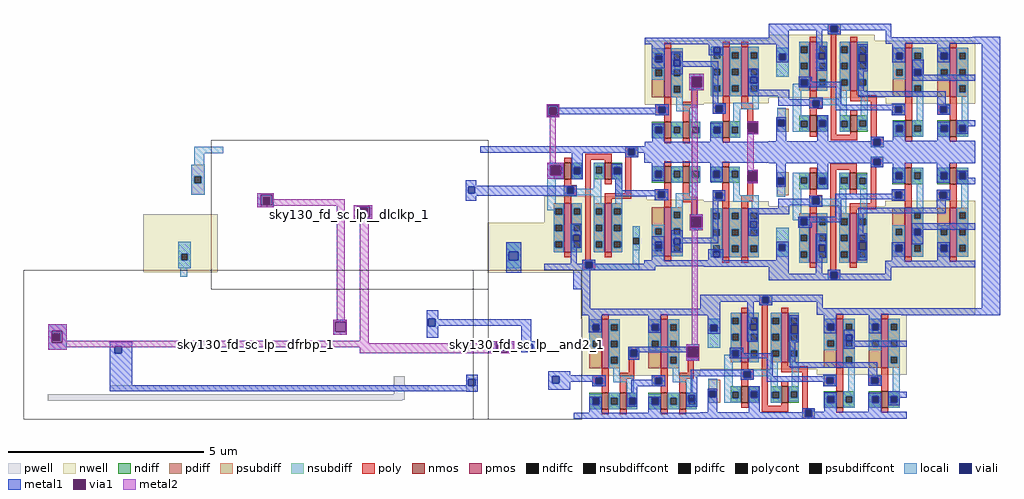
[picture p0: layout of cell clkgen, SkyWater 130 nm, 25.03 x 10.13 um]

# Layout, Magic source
magic
tech sky130A
magscale 1 2
<< nwell >>
rect -1618 -366 -1236 -68
rect 149 -243 954 -113
rect 149 -288 956 -243
rect -1428 -390 -1394 -366
rect 149 -369 2647 -288
rect 626 -585 2647 -369
rect 626 -605 956 -585
<< pwell >>
rect -333 -944 -278 -898
rect -1790 -976 -156 -944
rect -333 -992 -278 -976
rect 39 -979 98 -891
rect -2109 -1020 -278 -992
rect -2109 -1024 -290 -1020
<< psubdiff >>
rect -1372 126 -1302 186
rect -1372 90 -1356 126
rect -1322 90 -1302 126
rect -1372 32 -1302 90
<< nsubdiff >>
rect -1438 -270 -1374 -210
rect -1438 -304 -1424 -270
rect -1390 -304 -1374 -270
rect -1438 -346 -1374 -304
rect 242 -344 319 -213
<< psubdiffcont >>
rect -1356 90 -1322 126
<< nsubdiffcont >>
rect -1424 -304 -1390 -270
<< locali >>
rect 455 479 509 491
rect 455 445 466 479
rect 500 445 509 479
rect 455 433 509 445
rect -1356 245 -1207 279
rect -1356 186 -1306 245
rect -1372 126 -1302 186
rect -1372 90 -1356 126
rect -1322 90 -1302 126
rect -1372 32 -1302 90
rect -1438 -270 -1374 -210
rect -1438 -304 -1424 -270
rect -1390 -304 -1374 -270
rect -1438 -346 -1374 -304
rect 242 -261 319 -213
rect 242 -304 256 -261
rect 305 -304 319 -261
rect 242 -344 319 -304
rect -1428 -390 -1394 -346
<< viali >>
rect 466 445 500 479
rect 476 137 511 174
rect 795 138 829 172
rect 47 39 82 73
rect 555 36 589 70
rect -1003 -15 -969 20
rect -509 -72 -468 -38
rect 256 -304 305 -261
rect -156 -642 -121 -605
rect -2080 -717 -2043 -681
rect -1764 -780 -1728 -745
rect 199 -768 238 -732
rect 345 -770 379 -736
rect 48 -949 83 -915
rect 480 -935 515 -900
<< metal1 >>
rect 2635 842 2773 843
rect 2635 807 2775 842
rect 1182 636 1256 652
rect 1182 582 1194 636
rect 1246 582 1256 636
rect 1182 568 1256 582
rect 451 491 515 497
rect 451 438 457 491
rect 509 477 515 491
rect 509 445 989 477
rect 509 438 515 445
rect 451 428 515 438
rect 110 246 493 280
rect 951 276 983 280
rect 951 226 2648 276
rect 453 184 539 197
rect 951 196 983 226
rect 453 131 469 184
rect 522 131 539 184
rect 453 113 539 131
rect 784 172 838 191
rect 784 138 795 172
rect 829 138 838 172
rect 784 111 838 138
rect 35 79 89 107
rect 35 73 604 79
rect -1033 31 -949 40
rect -1033 -21 -1017 31
rect -958 -21 -949 31
rect 35 39 47 73
rect 82 70 604 73
rect 82 39 555 70
rect 35 36 555 39
rect 589 36 604 70
rect 35 26 604 36
rect 801 55 838 111
rect 35 1 89 26
rect 801 23 971 55
rect -1033 -33 -949 -21
rect -538 -31 -444 -22
rect -538 -84 -520 -31
rect -456 -84 -444 -31
rect -538 -91 -444 -84
rect 1184 -82 1250 -68
rect 1184 -136 1190 -82
rect 1244 -136 1250 -82
rect 1184 -150 1250 -136
rect 242 -261 319 -213
rect 242 -304 256 -261
rect 305 -304 319 -261
rect 242 -369 319 -304
rect 586 -453 675 -355
rect 952 -356 1008 -306
rect -164 -605 -106 -560
rect 630 -586 675 -453
rect 2682 -550 2775 807
rect 2268 -585 2775 -550
rect -644 -620 -576 -609
rect -2106 -666 -2012 -632
rect -2106 -728 -2088 -666
rect -2033 -728 -2012 -666
rect -644 -672 -635 -620
rect -581 -672 -576 -620
rect -644 -687 -576 -672
rect -164 -642 -156 -605
rect -121 -606 -106 -605
rect -121 -640 371 -606
rect -121 -642 -106 -640
rect -164 -701 -106 -642
rect 320 -719 371 -640
rect 154 -722 283 -719
rect -2106 -762 -2012 -728
rect -1790 -745 -1675 -723
rect -1790 -780 -1764 -745
rect -1728 -780 -1675 -745
rect -1790 -944 -1675 -780
rect 154 -778 193 -722
rect 248 -778 283 -722
rect 320 -736 399 -719
rect 320 -770 345 -736
rect 379 -770 399 -736
rect 320 -777 399 -770
rect 1166 -748 1234 -734
rect 154 -782 283 -778
rect 1166 -802 1172 -748
rect 1230 -802 1234 -748
rect 1166 -820 1234 -802
rect 39 -915 98 -891
rect -1790 -945 -156 -944
rect 39 -945 48 -915
rect -1790 -949 48 -945
rect 83 -949 98 -915
rect -1790 -976 98 -949
rect 459 -894 572 -873
rect 459 -900 626 -894
rect 459 -935 480 -900
rect 515 -926 626 -900
rect 515 -935 572 -926
rect 459 -969 572 -935
rect 39 -979 98 -976
rect 588 -1118 686 -1085
<< via1 >>
rect 1194 582 1246 636
rect 457 479 509 491
rect 457 445 466 479
rect 466 445 500 479
rect 500 445 509 479
rect 457 438 509 445
rect 469 174 522 184
rect 469 137 476 174
rect 476 137 511 174
rect 511 137 522 174
rect 469 131 522 137
rect -1017 20 -958 31
rect -1017 -15 -1003 20
rect -1003 -15 -969 20
rect -969 -15 -958 20
rect -1017 -21 -958 -15
rect -520 -38 -456 -31
rect -520 -72 -509 -38
rect -509 -72 -468 -38
rect -468 -72 -456 -38
rect -520 -84 -456 -72
rect 1190 -136 1244 -82
rect -2088 -681 -2033 -666
rect -2088 -717 -2080 -681
rect -2080 -717 -2043 -681
rect -2043 -717 -2033 -681
rect -2088 -728 -2033 -717
rect -635 -672 -581 -620
rect 193 -732 248 -722
rect 193 -768 199 -732
rect 199 -768 238 -732
rect 238 -768 248 -732
rect 193 -778 248 -768
rect 1172 -802 1230 -748
<< metal2 >>
rect 1182 636 1256 652
rect 1182 582 1194 636
rect 1246 582 1256 636
rect 1182 568 1256 582
rect 451 491 515 497
rect 451 438 457 491
rect 509 438 515 491
rect 451 428 515 438
rect 466 197 498 428
rect 453 184 539 197
rect 453 131 469 184
rect 522 131 539 184
rect 453 113 539 131
rect -1033 31 -949 40
rect -1033 -21 -1017 31
rect -958 9 -949 31
rect -958 -21 -584 9
rect -1033 -25 -584 -21
rect -1033 -33 -949 -25
rect -627 -609 -584 -25
rect -538 -31 -444 -22
rect -538 -84 -520 -31
rect -456 -84 -444 -31
rect 1194 -68 1226 568
rect 1480 152 1512 350
rect -538 -91 -444 -84
rect 1184 -82 1250 -68
rect -644 -620 -576 -609
rect -2106 -666 -2012 -632
rect -2106 -728 -2088 -666
rect -2033 -716 -2012 -666
rect -644 -672 -635 -620
rect -581 -672 -576 -620
rect -644 -687 -576 -672
rect -507 -716 -461 -91
rect 1184 -136 1190 -82
rect 1244 -136 1250 -82
rect 1184 -150 1250 -136
rect -2033 -728 -461 -716
rect -2106 -729 -461 -728
rect 154 -722 283 -719
rect 154 -729 193 -722
rect -2106 -751 193 -729
rect -2106 -762 -2012 -751
rect -507 -778 193 -751
rect 248 -778 283 -722
rect 1194 -734 1226 -150
rect -507 -780 283 -778
rect 154 -782 283 -780
rect 1166 -748 1234 -734
rect 1166 -802 1172 -748
rect 1230 -802 1234 -748
rect 1166 -820 1234 -802
use comp_clks_1stage  comp_clks_1stage_0
transform 1 0 -107 0 -1 814
box 546 534 1070 1170
use sky130_fd_sc_lp__and2_1  sky130_fd_sc_lp__and2_1_0 ~/sky130A/libs.ref/sky130_fd_sc_lp/mag
transform 1 0 112 0 1 -1070
box -38 -49 518 715
use sky130_fd_sc_lp__dfrbp_1  sky130_fd_sc_lp__dfrbp_1_0 ~/sky130A/libs.ref/sky130_fd_sc_lp/mag
transform 1 0 -2192 0 1 -1070
box -38 -49 2342 715
use sky130_fd_sc_lp__dlclkp_1  sky130_fd_sc_lp__dlclkp_1_0 ~/sky130A/libs.ref/sky130_fd_sc_lp/mag
transform 1 0 -1232 0 -1 262
box -38 -49 1382 715
use PDPUcomp  PDPUcomp_0
transform 1 0 975 0 -1 221
box -24 -7 1672 629
use PDPUcomp  PDPUcomp_1
transform 1 0 976 0 1 279
box -24 -7 1672 629
use PDPDcomp  PDPDcomp_0
transform 1 0 623 0 1 -1115
box -30 -3 1673 634
<< end >>

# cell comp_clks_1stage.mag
magic
tech sky130A
magscale 1 2
<< nwell >>
rect 546 790 1070 1145
<< nmos >>
rect 648 618 684 702
rect 854 618 890 702
<< pmos >>
rect 648 826 684 1078
rect 854 826 890 1078
<< ndiff >>
rect 594 674 648 702
rect 594 640 602 674
rect 636 640 648 674
rect 594 618 648 640
rect 684 676 738 702
rect 684 642 696 676
rect 730 642 738 676
rect 684 618 738 642
rect 800 674 854 702
rect 800 640 808 674
rect 842 640 854 674
rect 800 618 854 640
rect 890 676 944 702
rect 890 642 902 676
rect 936 642 944 676
rect 890 618 944 642
<< pdiff >>
rect 594 1054 648 1078
rect 594 1020 602 1054
rect 636 1020 648 1054
rect 594 970 648 1020
rect 594 936 602 970
rect 636 936 648 970
rect 594 886 648 936
rect 594 852 602 886
rect 636 852 648 886
rect 594 826 648 852
rect 684 1054 738 1078
rect 684 1020 696 1054
rect 730 1020 738 1054
rect 684 970 738 1020
rect 684 936 696 970
rect 730 936 738 970
rect 684 886 738 936
rect 684 852 696 886
rect 730 852 738 886
rect 684 826 738 852
rect 800 1054 854 1078
rect 800 1020 808 1054
rect 842 1020 854 1054
rect 800 970 854 1020
rect 800 936 808 970
rect 842 936 854 970
rect 800 886 854 936
rect 800 852 808 886
rect 842 852 854 886
rect 800 826 854 852
rect 890 1054 944 1078
rect 890 1020 902 1054
rect 936 1020 944 1054
rect 890 970 944 1020
rect 890 936 902 970
rect 936 936 944 970
rect 890 886 944 936
rect 890 852 902 886
rect 936 852 944 886
rect 890 826 944 852
<< ndiffc >>
rect 602 640 636 674
rect 696 642 730 676
rect 808 640 842 674
rect 902 642 936 676
<< pdiffc >>
rect 602 1020 636 1054
rect 602 936 636 970
rect 602 852 636 886
rect 696 1020 730 1054
rect 696 936 730 970
rect 696 852 730 886
rect 808 1020 842 1054
rect 808 936 842 970
rect 808 852 842 886
rect 902 1020 936 1054
rect 902 936 936 970
rect 902 852 936 886
<< nsubdiff >>
rect 998 1037 1034 1066
rect 998 1003 999 1037
rect 1033 1003 1034 1037
rect 998 944 1034 1003
<< nsubdiffcont >>
rect 999 1003 1033 1037
<< poly >>
rect 740 1160 806 1170
rect 740 1126 756 1160
rect 790 1126 806 1160
rect 740 1116 806 1126
rect 648 1078 684 1104
rect 648 790 684 826
rect 646 778 712 790
rect 646 744 662 778
rect 696 744 712 778
rect 646 734 712 744
rect 648 702 684 734
rect 648 592 684 618
rect 754 602 784 1116
rect 854 1078 890 1104
rect 854 804 890 826
rect 854 774 990 804
rect 854 702 890 728
rect 854 602 890 618
rect 754 572 890 602
rect 960 590 990 774
rect 960 580 1026 590
rect 960 546 976 580
rect 1010 546 1026 580
rect 960 536 1026 546
<< polycont >>
rect 756 1126 790 1160
rect 662 744 696 778
rect 976 546 1010 580
<< locali >>
rect 740 1160 1033 1170
rect 740 1126 756 1160
rect 790 1135 1033 1160
rect 790 1126 806 1135
rect 740 1116 806 1126
rect 594 1054 646 1078
rect 594 1020 602 1054
rect 636 1020 646 1054
rect 594 970 646 1020
rect 594 936 602 970
rect 636 936 646 970
rect 594 886 646 936
rect 594 862 602 886
rect 560 852 602 862
rect 636 852 646 886
rect 560 826 646 852
rect 686 1054 738 1078
rect 686 1022 696 1054
rect 686 988 694 1022
rect 730 1020 738 1054
rect 728 988 738 1020
rect 686 970 738 988
rect 686 936 696 970
rect 730 936 738 970
rect 686 886 738 936
rect 686 852 696 886
rect 730 852 738 886
rect 686 826 738 852
rect 800 1054 852 1078
rect 800 1020 808 1054
rect 842 1020 852 1054
rect 800 970 852 1020
rect 800 936 808 970
rect 842 936 852 970
rect 800 886 852 936
rect 800 852 808 886
rect 842 852 852 886
rect 800 826 852 852
rect 892 1054 944 1078
rect 892 1020 902 1054
rect 936 1020 944 1054
rect 892 970 944 1020
rect 892 936 902 970
rect 936 936 944 970
rect 998 1067 1033 1135
rect 998 1037 1034 1067
rect 998 1003 999 1037
rect 1033 1003 1034 1037
rect 998 944 1034 1003
rect 892 886 944 936
rect 892 852 902 886
rect 936 852 944 886
rect 892 826 944 852
rect 560 702 604 826
rect 646 786 712 790
rect 800 786 836 826
rect 646 778 836 786
rect 646 744 662 778
rect 696 752 836 778
rect 696 744 712 752
rect 646 736 712 744
rect 800 702 836 752
rect 908 702 944 826
rect 560 674 646 702
rect 560 640 602 674
rect 636 640 646 674
rect 560 618 646 640
rect 686 676 738 702
rect 686 642 696 676
rect 730 642 738 676
rect 686 618 738 642
rect 800 674 852 702
rect 800 640 808 674
rect 842 640 852 674
rect 800 618 852 640
rect 892 676 944 702
rect 892 642 902 676
rect 936 642 944 676
rect 892 626 944 642
rect 960 580 1026 590
rect 960 546 976 580
rect 1010 546 1026 580
rect 960 536 1026 546
<< viali >>
rect 756 1126 790 1160
rect 694 1020 696 1022
rect 696 1020 728 1022
rect 694 988 728 1020
rect 696 642 730 676
rect 976 546 1010 580
<< metal1 >>
rect 546 1160 1062 1170
rect 546 1136 756 1160
rect 680 1054 712 1136
rect 740 1126 756 1136
rect 790 1136 1062 1160
rect 790 1126 806 1136
rect 740 1116 806 1126
rect 680 1022 734 1054
rect 680 988 694 1022
rect 728 988 734 1022
rect 680 930 734 988
rect 686 676 742 702
rect 686 642 696 676
rect 730 642 742 676
rect 686 568 742 642
rect 960 580 1026 590
rect 960 568 976 580
rect 546 546 976 568
rect 1010 568 1026 580
rect 1010 546 1062 568
rect 546 534 1062 546
<< end >>

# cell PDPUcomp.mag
magic
tech sky130A
magscale 1 2
<< nwell >>
rect 330 507 364 510
rect 330 476 364 484
rect 330 449 364 472
rect 172 410 354 438
<< pdiff >>
rect 330 507 364 510
rect 330 476 364 484
rect 330 449 364 472
<< locali >>
rect 330 449 364 472
<< viali >>
rect 330 476 364 510
rect 32 431 66 466
rect 126 412 160 446
rect 1360 363 1394 397
rect 226 313 260 347
rect 519 324 553 358
rect 48 171 82 205
rect 342 177 376 211
rect 838 203 872 237
rect 32 67 66 101
rect 330 67 364 101
rect 514 79 548 113
rect 1590 75 1624 109
<< metal1 >>
rect 316 542 374 551
rect 14 466 79 538
rect 316 537 380 542
rect 305 510 380 537
rect 613 525 654 629
rect 14 431 32 466
rect 66 431 79 466
rect 14 402 79 431
rect 114 446 172 485
rect 305 476 330 510
rect 364 476 380 510
rect 305 468 380 476
rect 114 412 126 446
rect 160 438 172 446
rect 160 412 354 438
rect 114 410 354 412
rect 114 371 172 410
rect 216 347 270 363
rect 216 313 226 347
rect 260 313 270 347
rect 216 297 270 313
rect 326 221 354 410
rect 509 358 562 400
rect 509 324 519 358
rect 553 324 562 358
rect 1348 397 1407 444
rect 1348 363 1360 397
rect 1394 368 1407 397
rect 1394 363 1672 368
rect 1348 336 1672 363
rect 509 290 562 324
rect 509 258 719 290
rect 663 242 719 258
rect 822 242 889 250
rect 663 237 889 242
rect 30 205 100 217
rect 30 198 48 205
rect -24 171 48 198
rect 82 171 100 205
rect -24 166 100 171
rect 326 211 392 221
rect 326 177 342 211
rect 376 177 392 211
rect 663 210 838 237
rect 822 203 838 210
rect 872 203 889 237
rect 822 195 889 203
rect 326 167 392 177
rect 30 161 100 166
rect 504 122 558 129
rect 15 101 78 117
rect 15 67 32 101
rect 66 67 78 101
rect 15 9 78 67
rect 314 101 377 122
rect 314 67 330 101
rect 364 67 377 101
rect 314 11 377 67
rect 557 69 558 122
rect 504 63 558 69
rect 1578 109 1672 135
rect 1578 75 1590 109
rect 1624 103 1672 109
rect 1624 75 1636 103
rect 1578 66 1636 75
<< via1 >>
rect 504 113 557 122
rect 504 79 514 113
rect 514 79 548 113
rect 548 79 557 113
rect 504 69 557 79
<< metal2 >>
rect 504 122 559 130
rect 503 69 504 90
rect 557 69 559 122
rect 503 62 559 69
use comp_clks  comp_clks_0
transform 1 0 176 0 1 -541
box 438 534 1496 1170
use inv_weak_pullup  inv_weak_pullup_0
transform 1 0 810 0 1 155
box -530 -162 -182 404
use inv_weak_pulldown  inv_weak_pulldown_0
transform 1 0 98 0 1 71
box -122 -78 182 486
<< labels >>
rlabel metal1 30 185 30 185 7 inp
rlabel metal1 216 310 216 310 7 vnb
rlabel metal1 172 432 172 432 3 out
rlabel metal1 326 190 326 190 7 vinp2
rlabel via1 504 90 504 90 7 vpb
rlabel metal1 1672 118 1672 118 3 clkb
rlabel metal1 1672 352 1672 352 3 clka
<< end >>

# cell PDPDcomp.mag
magic
tech sky130A
magscale 1 2
<< viali >>
rect 63 449 97 483
rect 367 449 401 483
rect 1360 394 1394 429
rect 257 317 291 351
rect 561 317 595 351
rect 79 175 113 209
rect 383 175 417 209
rect 839 207 873 241
rect 63 71 97 105
rect 251 71 285 105
rect 367 71 401 105
rect 553 84 587 118
rect 1591 79 1625 113
<< metal1 >>
rect 44 483 110 556
rect 44 449 63 483
rect 97 449 110 483
rect 44 442 110 449
rect 349 483 413 553
rect 614 530 666 634
rect 349 449 367 483
rect 401 449 413 483
rect 349 439 413 449
rect 1350 429 1406 455
rect 1350 394 1360 429
rect 1394 399 1406 429
rect 1394 394 1673 399
rect 246 351 606 368
rect 1350 367 1673 394
rect 1350 356 1406 367
rect 246 317 257 351
rect 291 339 561 351
rect 291 317 301 339
rect 246 301 301 317
rect 551 317 561 339
rect 595 317 606 351
rect 551 301 606 317
rect 823 248 889 253
rect 567 241 889 248
rect -30 209 131 221
rect -30 189 79 209
rect 61 175 79 189
rect 113 175 131 209
rect 365 209 435 221
rect 365 197 383 209
rect 61 165 131 175
rect 261 175 383 197
rect 417 175 435 209
rect 261 165 435 175
rect 567 216 839 241
rect 261 131 293 165
rect 567 131 599 216
rect 823 207 839 216
rect 873 207 889 241
rect 823 199 889 207
rect 45 105 109 111
rect 45 71 63 105
rect 97 71 109 105
rect 45 22 109 71
rect 239 105 293 131
rect 542 118 599 131
rect 239 71 251 105
rect 285 71 293 105
rect 239 59 293 71
rect 349 105 413 112
rect 349 71 367 105
rect 401 71 413 105
rect 349 23 413 71
rect 542 84 553 118
rect 587 84 599 118
rect 542 60 599 84
rect 1579 137 1638 140
rect 1579 113 1673 137
rect 1579 79 1591 113
rect 1625 105 1673 113
rect 1625 79 1638 105
rect 1579 68 1638 79
use comp_clks  comp_clks_0
transform 1 0 177 0 1 -537
box 438 534 1496 1170
use inv_weak_pulldown  inv_weak_pulldown_1
transform 1 0 433 0 1 75
box -122 -78 182 486
use inv_weak_pulldown  inv_weak_pulldown_0
transform 1 0 129 0 1 75
box -122 -78 182 486
<< labels >>
rlabel metal1 1673 385 1673 385 3 cclk
rlabel metal1 1673 120 1673 120 3 cclkb
rlabel metal1 246 349 246 349 7 vnb
<< end >>

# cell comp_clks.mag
magic
tech sky130A
<< nwell >>
rect 219 542 490 557
rect 219 395 531 542
<< nmos >>
rect 324 309 342 351
rect 427 309 445 351
<< pmos >>
rect 324 413 342 539
rect 427 413 445 539
<< ndiff >>
rect 297 337 324 351
rect 297 320 301 337
rect 318 320 324 337
rect 297 309 324 320
rect 342 338 369 351
rect 342 321 348 338
rect 365 321 369 338
rect 342 309 369 321
rect 400 337 427 351
rect 400 320 404 337
rect 421 320 427 337
rect 400 309 427 320
rect 445 338 472 351
rect 445 321 451 338
rect 468 321 472 338
rect 445 309 472 321
<< pdiff >>
rect 297 527 324 539
rect 297 510 301 527
rect 318 510 324 527
rect 297 485 324 510
rect 297 468 301 485
rect 318 468 324 485
rect 297 443 324 468
rect 297 426 301 443
rect 318 426 324 443
rect 297 413 324 426
rect 342 527 369 539
rect 342 510 348 527
rect 365 510 369 527
rect 342 485 369 510
rect 342 468 348 485
rect 365 468 369 485
rect 342 443 369 468
rect 342 426 348 443
rect 365 426 369 443
rect 342 413 369 426
rect 400 527 427 539
rect 400 510 404 527
rect 421 510 427 527
rect 400 485 427 510
rect 400 468 404 485
rect 421 468 427 485
rect 400 443 427 468
rect 400 426 404 443
rect 421 426 427 443
rect 400 413 427 426
rect 445 527 472 539
rect 445 510 451 527
rect 468 510 472 527
rect 445 485 472 510
rect 445 468 451 485
rect 468 468 472 485
rect 445 443 472 468
rect 445 426 451 443
rect 468 426 472 443
rect 445 413 472 426
<< ndiffc >>
rect 301 320 318 337
rect 348 321 365 338
rect 404 320 421 337
rect 451 321 468 338
<< pdiffc >>
rect 301 510 318 527
rect 301 468 318 485
rect 301 426 318 443
rect 348 510 365 527
rect 348 468 365 485
rect 348 426 365 443
rect 404 510 421 527
rect 404 468 421 485
rect 404 426 421 443
rect 451 510 468 527
rect 451 468 468 485
rect 451 426 468 443
<< psubdiff >>
rect 241 339 270 367
rect 241 322 242 339
rect 259 322 270 339
rect 241 308 270 322
<< nsubdiff >>
rect 238 509 270 524
rect 238 492 245 509
rect 262 492 270 509
rect 238 450 270 492
<< psubdiffcont >>
rect 242 322 259 339
<< nsubdiffcont >>
rect 245 492 262 509
<< poly >>
rect 370 580 403 585
rect 370 563 378 580
rect 395 563 403 580
rect 370 558 403 563
rect 324 539 342 552
rect 324 395 342 413
rect 323 389 356 395
rect 323 372 331 389
rect 348 372 356 389
rect 323 367 356 372
rect 324 351 342 367
rect 324 296 342 309
rect 377 301 392 558
rect 427 539 445 552
rect 427 402 445 413
rect 427 387 495 402
rect 427 351 445 364
rect 427 301 445 309
rect 377 286 445 301
rect 480 295 495 387
rect 480 290 513 295
rect 480 273 488 290
rect 505 273 513 290
rect 480 268 513 273
<< polycont >>
rect 378 563 395 580
rect 331 372 348 389
rect 658 357 675 374
rect 488 273 505 290
<< locali >>
rect 370 580 403 585
rect 370 563 378 580
rect 395 563 403 580
rect 370 558 403 563
rect 297 527 323 539
rect 238 509 270 524
rect 238 492 245 509
rect 262 492 270 509
rect 238 450 270 492
rect 297 510 301 527
rect 318 510 323 527
rect 297 485 323 510
rect 297 468 301 485
rect 318 468 323 485
rect 297 443 323 468
rect 297 431 301 443
rect 280 426 301 431
rect 318 426 323 443
rect 280 413 323 426
rect 343 527 369 539
rect 343 511 348 527
rect 343 494 347 511
rect 365 510 369 527
rect 364 494 369 510
rect 343 485 369 494
rect 343 468 348 485
rect 365 468 369 485
rect 343 443 369 468
rect 343 426 348 443
rect 365 426 369 443
rect 343 413 369 426
rect 400 527 426 539
rect 400 510 404 527
rect 421 510 426 527
rect 400 485 426 510
rect 400 468 404 485
rect 421 468 426 485
rect 400 443 426 468
rect 400 426 404 443
rect 421 426 426 443
rect 400 413 426 426
rect 446 527 472 539
rect 446 510 451 527
rect 468 510 472 527
rect 446 508 472 510
rect 446 486 451 508
rect 469 486 472 508
rect 446 485 472 486
rect 446 468 451 485
rect 468 468 472 485
rect 446 443 472 468
rect 446 426 451 443
rect 468 426 472 443
rect 446 413 472 426
rect 240 339 262 370
rect 240 322 242 339
rect 259 322 262 339
rect 240 308 262 322
rect 280 351 302 413
rect 323 393 356 395
rect 400 393 418 413
rect 323 389 418 393
rect 323 372 331 389
rect 348 376 418 389
rect 348 372 356 376
rect 323 368 356 372
rect 400 351 418 376
rect 454 351 472 413
rect 280 337 323 351
rect 280 320 301 337
rect 318 320 323 337
rect 280 309 323 320
rect 343 338 369 351
rect 343 321 348 338
rect 365 321 369 338
rect 343 309 369 321
rect 400 337 426 351
rect 400 320 404 337
rect 421 320 426 337
rect 400 309 426 320
rect 446 338 472 351
rect 446 321 451 338
rect 468 321 472 338
rect 446 313 472 321
rect 480 290 513 295
rect 480 273 488 290
rect 505 273 513 290
rect 480 268 513 273
<< viali >>
rect 378 563 395 580
rect 245 492 262 509
rect 301 426 318 443
rect 347 510 348 511
rect 348 510 364 511
rect 347 494 364 510
rect 451 486 469 508
rect 545 494 562 511
rect 660 494 677 511
rect 242 322 259 339
rect 543 357 560 374
rect 658 357 675 374
rect 348 321 365 338
rect 545 308 562 325
rect 660 308 677 325
rect 488 273 505 290
<< metal1 >>
rect 219 580 533 585
rect 219 568 378 580
rect 238 509 270 568
rect 238 492 245 509
rect 262 492 270 509
rect 238 486 270 492
rect 340 527 356 568
rect 370 563 378 568
rect 395 568 533 580
rect 395 563 403 568
rect 370 558 403 563
rect 518 534 533 568
rect 340 511 367 527
rect 340 494 347 511
rect 364 494 367 511
rect 340 465 367 494
rect 447 508 472 533
rect 447 486 451 508
rect 469 486 472 508
rect 535 511 568 545
rect 535 494 545 511
rect 562 494 568 511
rect 535 487 568 494
rect 651 511 683 545
rect 651 494 660 511
rect 677 494 683 511
rect 651 487 683 494
rect 447 464 472 486
rect 295 443 329 450
rect 295 426 301 443
rect 318 436 329 443
rect 318 426 405 436
rect 295 422 405 426
rect 390 377 405 422
rect 448 412 462 464
rect 448 398 673 412
rect 534 377 569 380
rect 390 374 569 377
rect 390 363 543 374
rect 534 357 543 363
rect 560 357 569 374
rect 534 351 569 357
rect 650 378 673 398
rect 650 374 684 378
rect 650 357 658 374
rect 675 357 684 374
rect 650 352 684 357
rect 238 339 263 345
rect 238 322 242 339
rect 259 322 263 339
rect 238 284 263 322
rect 343 338 371 351
rect 343 321 348 338
rect 365 321 371 338
rect 343 284 371 321
rect 537 325 569 335
rect 537 308 545 325
rect 562 308 569 325
rect 480 290 513 295
rect 480 284 488 290
rect 219 273 488 284
rect 505 285 513 290
rect 505 284 522 285
rect 505 273 518 284
rect 537 273 569 308
rect 650 325 683 334
rect 650 308 660 325
rect 677 308 683 325
rect 219 267 518 273
rect 650 269 683 308
use inv3x  inv3x_0
transform 1 0 578 0 1 307
box -60 -40 55 244
use inv3x  inv3x_1
transform 1 0 693 0 1 307
box -60 -40 55 244
<< labels >>
rlabel metal1 219 575 219 575 7 VDD
rlabel metal1 219 275 219 275 7 GND
<< end >>

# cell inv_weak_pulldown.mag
magic
tech sky130A
<< nwell >>
rect -61 72 91 236
<< nmos >>
rect -10 -14 8 28
rect 37 -14 55 28
<< pmos >>
rect -10 91 8 217
<< ndiff >>
rect -42 15 -10 28
rect -42 -2 -33 15
rect -16 -2 -10 15
rect -42 -14 -10 -2
rect 8 15 37 28
rect 8 -2 14 15
rect 31 -2 37 15
rect 8 -14 37 -2
rect 55 15 82 28
rect 55 -2 61 15
rect 78 -2 82 15
rect 55 -14 82 -2
<< pdiff >>
rect -42 204 -10 217
rect -42 187 -33 204
rect -16 187 -10 204
rect -42 162 -10 187
rect -42 145 -33 162
rect -16 145 -10 162
rect -42 91 -10 145
rect 8 204 37 217
rect 8 187 14 204
rect 31 187 37 204
rect 8 162 37 187
rect 8 145 14 162
rect 31 145 37 162
rect 8 120 37 145
rect 8 103 14 120
rect 31 103 37 120
rect 8 91 37 103
<< ndiffc >>
rect -33 -2 -16 15
rect 14 -2 31 15
rect 61 -2 78 15
<< pdiffc >>
rect -33 187 -16 204
rect -33 145 -16 162
rect 14 187 31 204
rect 14 145 31 162
rect 14 103 31 120
<< poly >>
rect -10 217 8 230
rect 59 138 86 146
rect 59 121 64 138
rect 81 121 86 138
rect 59 113 86 121
rect -10 73 8 91
rect 59 79 74 113
rect -34 67 8 73
rect -34 50 -25 67
rect -8 50 8 67
rect -34 45 8 50
rect -10 28 8 45
rect 37 64 74 79
rect 37 28 55 64
rect -10 -27 8 -14
rect 37 -27 55 -14
<< polycont >>
rect 64 121 81 138
rect -25 50 -8 67
<< locali >>
rect -42 204 -10 217
rect -42 187 -33 204
rect -16 187 -10 204
rect -42 162 -10 187
rect -42 145 -33 162
rect -16 145 -10 162
rect -42 136 -10 145
rect 8 204 37 217
rect 8 187 14 204
rect 31 187 37 204
rect 8 162 37 187
rect 8 145 14 162
rect 31 145 37 162
rect 8 120 37 145
rect 8 103 14 120
rect 31 103 37 120
rect 59 138 86 146
rect 59 121 64 138
rect 81 121 86 138
rect 59 113 86 121
rect 8 91 37 103
rect -34 67 1 73
rect -34 50 -25 67
rect -8 50 1 67
rect 20 72 37 91
rect 20 55 72 72
rect -34 45 1 50
rect 55 28 72 55
rect -42 15 -10 24
rect -42 -2 -33 15
rect -16 -2 -10 15
rect -42 -14 -10 -2
rect 8 15 37 28
rect 8 -2 14 15
rect 31 -2 37 15
rect 8 -14 37 -2
rect 55 15 82 28
rect 55 -2 61 15
rect 78 -2 82 15
rect 55 -14 82 -2
<< metal1 >>
rect -61 227 91 243
rect -61 -39 91 -23
<< labels >>
rlabel metal1 91 236 91 236 3 VDD
rlabel metal1 91 -35 91 -35 3 GND
<< end >>

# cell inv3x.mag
magic
tech sky130A
<< nwell >>
rect -60 73 55 235
<< nmos >>
rect -10 -11 8 31
<< pmos >>
rect -10 91 8 217
<< ndiff >>
rect -42 18 -10 31
rect -42 1 -33 18
rect -16 1 -10 18
rect -42 -11 -10 1
rect 8 18 37 31
rect 8 1 14 18
rect 31 1 37 18
rect 8 -11 37 1
<< pdiff >>
rect -42 204 -10 217
rect -42 187 -33 204
rect -16 187 -10 204
rect -42 162 -10 187
rect -42 145 -33 162
rect -16 145 -10 162
rect -42 91 -10 145
rect 8 204 37 217
rect 8 187 14 204
rect 31 187 37 204
rect 8 162 37 187
rect 8 145 14 162
rect 31 145 37 162
rect 8 120 37 145
rect 8 103 14 120
rect 31 103 37 120
rect 8 91 37 103
<< ndiffc >>
rect -33 1 -16 18
rect 14 1 31 18
<< pdiffc >>
rect -33 187 -16 204
rect -33 145 -16 162
rect 14 187 31 204
rect 14 145 31 162
rect 14 103 31 120
<< poly >>
rect -10 217 8 230
rect -10 72 8 91
rect -43 67 8 72
rect -43 50 -35 67
rect -18 50 8 67
rect -43 45 8 50
rect -10 31 8 45
rect -10 -24 8 -11
<< polycont >>
rect -35 50 -18 67
<< locali >>
rect -42 204 -10 217
rect -42 187 -33 204
rect -16 187 -10 204
rect -42 162 -10 187
rect -42 145 -33 162
rect -16 145 -10 162
rect -42 136 -10 145
rect 8 204 37 217
rect 8 187 14 204
rect 31 187 37 204
rect 8 162 37 187
rect 8 145 14 162
rect 31 145 37 162
rect 8 120 37 145
rect 8 103 14 120
rect 31 103 37 120
rect 8 91 37 103
rect -43 67 -10 72
rect -43 50 -35 67
rect -18 50 -10 67
rect -43 45 -10 50
rect 20 31 37 91
rect -42 18 -10 27
rect -42 1 -33 18
rect -16 1 -10 18
rect -42 -11 -10 1
rect 8 18 37 31
rect 8 1 14 18
rect 31 1 37 18
rect 8 -11 37 1
<< metal1 >>
rect -60 227 55 244
rect -60 -40 55 -22
<< end >>

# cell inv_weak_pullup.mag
magic
tech sky130A
<< nwell >>
rect -265 34 -98 196
<< nmos >>
rect -217 -55 -199 -13
<< pmos >>
rect -217 52 -199 178
rect -169 52 -151 178
<< ndiff >>
rect -247 -27 -217 -13
rect -247 -44 -240 -27
rect -223 -44 -217 -27
rect -247 -55 -217 -44
rect -199 -27 -172 -13
rect -199 -44 -193 -27
rect -176 -44 -172 -27
rect -199 -55 -172 -44
<< pdiff >>
rect -247 164 -217 178
rect -247 147 -240 164
rect -223 147 -217 164
rect -247 122 -217 147
rect -247 105 -240 122
rect -223 105 -217 122
rect -247 80 -217 105
rect -247 63 -240 80
rect -223 63 -217 80
rect -247 52 -217 63
rect -199 164 -169 178
rect -199 147 -193 164
rect -175 147 -169 164
rect -199 122 -169 147
rect -199 105 -193 122
rect -175 105 -169 122
rect -199 80 -169 105
rect -199 63 -193 80
rect -175 63 -169 80
rect -199 52 -169 63
rect -151 164 -124 178
rect -151 147 -145 164
rect -128 147 -124 164
rect -151 122 -124 147
rect -151 105 -145 122
rect -128 105 -124 122
rect -151 80 -124 105
rect -151 63 -145 80
rect -128 63 -124 80
rect -151 52 -124 63
<< ndiffc >>
rect -240 -44 -223 -27
rect -193 -44 -176 -27
<< pdiffc >>
rect -240 147 -223 164
rect -240 105 -223 122
rect -240 63 -223 80
rect -193 147 -175 164
rect -193 105 -175 122
rect -193 63 -175 80
rect -145 147 -128 164
rect -145 105 -128 122
rect -145 63 -128 80
<< poly >>
rect -217 178 -199 191
rect -169 178 -151 191
rect -217 33 -199 52
rect -242 28 -199 33
rect -242 11 -234 28
rect -217 11 -199 28
rect -169 34 -151 52
rect -169 19 -138 34
rect -242 6 -199 11
rect -217 -13 -199 6
rect -153 -13 -138 19
rect -153 -21 -126 -13
rect -153 -38 -148 -21
rect -131 -38 -126 -21
rect -153 -46 -126 -38
rect -217 -68 -199 -55
<< polycont >>
rect -234 11 -217 28
rect -148 -38 -131 -21
<< locali >>
rect -247 164 -217 178
rect -247 147 -240 164
rect -223 147 -217 164
rect -247 122 -217 147
rect -247 105 -240 122
rect -223 105 -217 122
rect -247 80 -217 105
rect -247 63 -240 80
rect -223 63 -217 80
rect -247 52 -217 63
rect -199 164 -169 178
rect -199 147 -193 164
rect -175 147 -169 164
rect -199 122 -169 147
rect -199 105 -193 122
rect -175 105 -169 122
rect -199 80 -169 105
rect -199 63 -193 80
rect -175 63 -169 80
rect -199 52 -169 63
rect -151 164 -124 178
rect -151 147 -145 164
rect -128 147 -124 164
rect -151 122 -124 147
rect -151 105 -145 122
rect -128 105 -124 122
rect -151 80 -124 105
rect -151 63 -145 80
rect -128 63 -124 80
rect -151 52 -124 63
rect -141 35 -124 52
rect -242 28 -209 33
rect -242 11 -234 28
rect -217 11 -209 28
rect -242 6 -209 11
rect -189 18 -124 35
rect -189 -13 -172 18
rect -247 -27 -217 -13
rect -247 -44 -240 -27
rect -223 -44 -217 -27
rect -247 -55 -217 -44
rect -199 -27 -172 -13
rect -199 -44 -193 -27
rect -176 -44 -172 -27
rect -199 -55 -172 -44
rect -153 -21 -126 -13
rect -153 -38 -148 -21
rect -131 -38 -126 -21
rect -153 -46 -126 -38
<< metal1 >>
rect -265 185 -91 202
rect -265 -81 -98 -65
<< labels >>
rlabel metal1 -98 196 -98 196 3 VDD
rlabel metal1 -98 -72 -98 -72 7 GND
<< end >>
